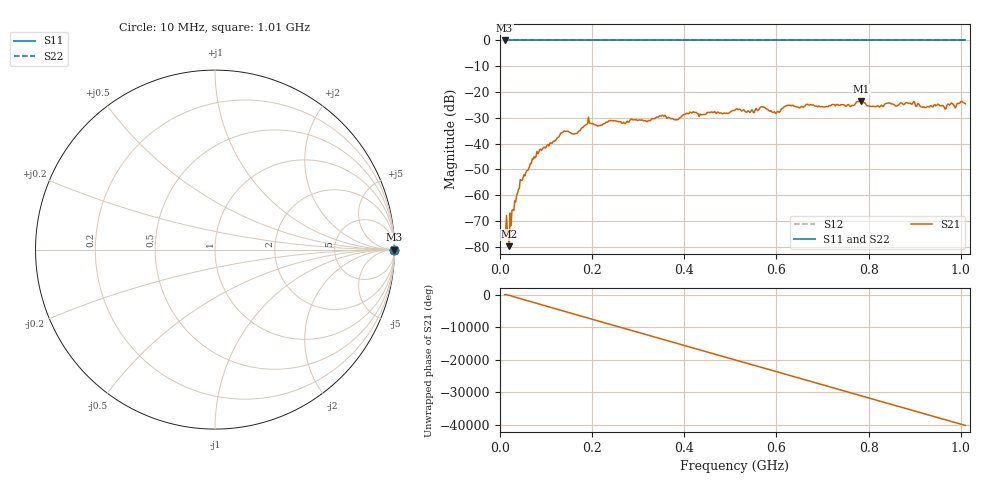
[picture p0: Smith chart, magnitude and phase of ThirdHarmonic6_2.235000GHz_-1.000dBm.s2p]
! 8/17/2025 2:34:33 AM
! C:\ANRITSUVNA\TEMP\TEMP.S2P
! CHANNEL.1
! TR.MEASUREMENT
! RAW.DATA
! RF.CORRECTION.OFF
! AVERAGING.OFF
! IF.BANDWIDTH: 5KHZ
! SWEEPTYPE:  FREQ.SWEEP(Linear)
! Reference Plane Port Info
! PORT:  PORT1  PORT2
! DISTANCE:  0  m  0  m
! TIME:  0  s  0  s
! PHASE.OFFSET:  0  deg.  0  deg.
! LOSS:  0  dB  0  dB
! REF.LOSS:  0  dB  0  dB
! REF.FREQ:  0  Hz  0  Hz
! Power Info
! POWER:  -20  dBm  -20  dBm
! EFF.POWER:  -20  dBm  -20  dBm
! SOURCE.ATTEN:  0  dB  0  dB
! TEST.ATTEN:  0  dB  0  dB
# GHZ S RI R 50.0
! FREQ.GHZ  S11RE  S11IM  S21RE  S21IM  S12RE  S12IM  S22RE  S22IM
!; PortSelection: Port_12
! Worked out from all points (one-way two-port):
!   501 points, 10 MHz to 1.01 GHz, reference 50 ohm
!   highest |S21| = -23.45 dB at 784 MHz (marker M1); lowest = -79.8 dB at 20 MHz (marker M2)
!   lowest |S11| = 0.0 dB at 10 MHz (marker M3)
!   |S11| at or under -10 dB: nowhere
!   |S22| runs from 0.0 to 0.0 dB; largest |S21 - S12| = 1.1
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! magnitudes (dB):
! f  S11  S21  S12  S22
! 10 MHz  0.0  -74.8  0.0  0.0
! 20 MHz  0.0  -79.8  0.0  0.0
! 26 MHz  0.0  -65.9  0.0  0.0
! 42 MHz  0.0  -57.3  0.0  0.0
! 76 MHz  0.0  -45.5  0.0  0.0
! 136 MHz  0.0  -35.6  0.0  0.0
! 164 MHz  0.0  -36.1  0.0  0.0
! 178 MHz  0.0  -33.9  0.0  0.0
! 194 MHz  0.0  -32.0  0.0  0.0
! 216 MHz  0.0  -33.0  0.0  0.0
! 344 MHz  0.0  -29.6  0.0  0.0
! 382 MHz  0.0  -30.8  0.0  0.0
! 416 MHz  0.0  -28.1  0.0  0.0
! 510 MHz  0.0  -27.0  0.0  0.0
! 570 MHz  0.0  -25.8  0.0  0.0
! 596 MHz  0.0  -27.7  0.0  0.0
! 624 MHz  0.0  -25.2  0.0  0.0
! 678 MHz  0.0  -25.1  0.0  0.0
! 784 MHz  0.0  -23.5  0.0  0.0
! 804 MHz  0.0  -25.6  0.0  0.0
! 844 MHz  0.0  -24.2  0.0  0.0
! 1.01 GHz  0.0  -24.5  0.0  0.0
